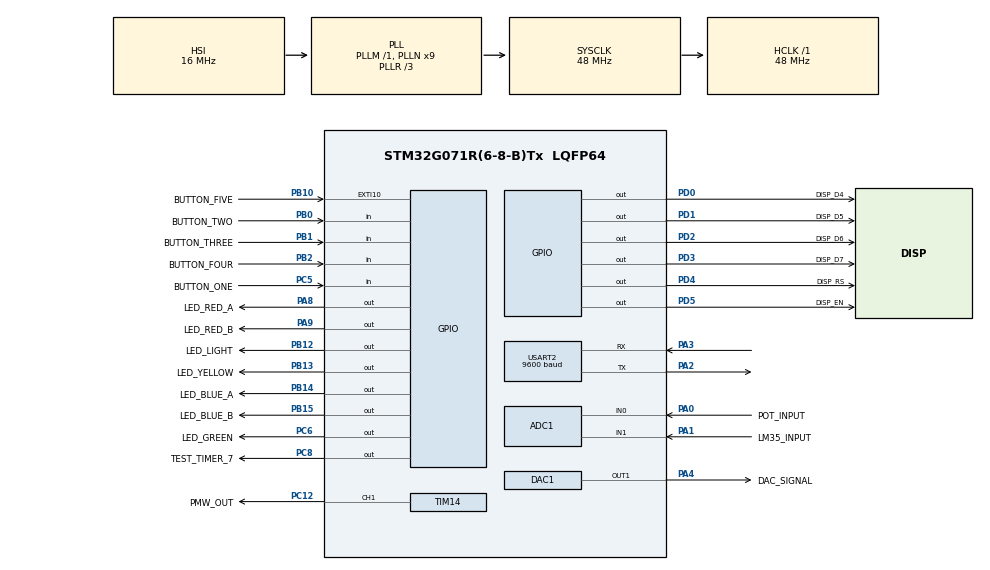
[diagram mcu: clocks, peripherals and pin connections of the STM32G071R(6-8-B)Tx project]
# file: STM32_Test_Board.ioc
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ADC1.Channel-0\#ChannelRegularConversion=ADC_CHANNEL_0
ADC1.Channel-1\#ChannelRegularConversion=ADC_CHANNEL_1
ADC1.ContinuousConvMode=ENABLE
ADC1.NbrOfConversion=2
ADC1.NbrOfConversionFlag=1
ADC1.Rank-0\#ChannelRegularConversion=1
ADC1.Rank-1\#ChannelRegularConversion=2
ADC1.SamplingTime-0\#ChannelRegularConversion=ADC_SAMPLINGTIME_COMMON_1
ADC1.SamplingTime-1\#ChannelRegularConversion=ADC_SAMPLINGTIME_COMMON_1
ADC1.SamplingTimeCommon1=ADC_SAMPLETIME_160CYCLES_5
ADC1.SamplingTimeCommon2=ADC_SAMPLETIME_160CYCLES_5
ADC1.SelectedChannel=ADC_CHANNEL_0|ADC_CHANNEL_1
ADC1.master=1
DAC1.DAC_Channel-DAC_OUT1=DAC_CHANNEL_1
DAC1.DAC_Trigger-DAC_OUT1=DAC_TRIGGER_T15_TRGO
Dma.DAC1_CH1.1.Direction=DMA_MEMORY_TO_PERIPH
Dma.DAC1_CH1.1.EventEnable=DISABLE
Dma.DAC1_CH1.1.Instance=DMA1_Channel1
Dma.DAC1_CH1.1.MemDataAlignment=DMA_MDATAALIGN_WORD
Dma.DAC1_CH1.1.MemInc=DMA_MINC_ENABLE
Dma.DAC1_CH1.1.Mode=DMA_CIRCULAR
Dma.DAC1_CH1.1.PeriphDataAlignment=DMA_PDATAALIGN_WORD
Dma.DAC1_CH1.1.PeriphInc=DMA_PINC_DISABLE
Dma.DAC1_CH1.1.Polarity=HAL_DMAMUX_REQ_GEN_RISING
Dma.DAC1_CH1.1.Priority=DMA_PRIORITY_LOW
Dma.DAC1_CH1.1.RequestNumber=1
Dma.DAC1_CH1.1.SignalID=NONE
Dma.DAC1_CH1.1.SyncEnable=DISABLE
Dma.DAC1_CH1.1.SyncPolarity=HAL_DMAMUX_SYNC_NO_EVENT
Dma.DAC1_CH1.1.SyncRequestNumber=1
Dma.DAC1_CH1.1.SyncSignalID=NONE
Dma.Request0=USART2_RX
Dma.Request1=DAC1_CH1
Dma.USART2_RX.0.Direction=DMA_PERIPH_TO_MEMORY
Dma.USART2_RX.0.EventEnable=DISABLE
Dma.USART2_RX.0.Instance=DMA1_Channel2
Dma.USART2_RX.0.MemDataAlignment=DMA_MDATAALIGN_BYTE
Dma.USART2_RX.0.MemInc=DMA_MINC_ENABLE
Dma.USART2_RX.0.Mode=DMA_NORMAL
Dma.USART2_RX.0.PeriphDataAlignment=DMA_PDATAALIGN_BYTE
Dma.USART2_RX.0.PeriphInc=DMA_PINC_DISABLE
Dma.USART2_RX.0.Polarity=HAL_DMAMUX_REQ_GEN_RISING
Dma.USART2_RX.0.Priority=DMA_PRIORITY_LOW
Dma.USART2_RX.0.RequestNumber=1
Dma.USART2_RX.0.SignalID=NONE
Dma.USART2_RX.0.SyncEnable=DISABLE
Dma.USART2_RX.0.SyncPolarity=HAL_DMAMUX_SYNC_NO_EVENT
Dma.USART2_RX.0.SyncRequestNumber=1
Dma.USART2_RX.0.SyncSignalID=NONE
Mcu.Family=STM32G0
Mcu.Name=STM32G071R(6-8-B)Tx
Mcu.Package=LQFP64
NVIC.DMA1_Channel1_IRQn=true\:0\:0\:false\:false\:true\:false\:true\:true
NVIC.DMA1_Channel2_3_IRQn=true\:0\:0\:false\:false\:true\:false\:true\:true
NVIC.EXTI4_15_IRQn=true\:0\:0\:false\:false\:true\:true\:true\:true
NVIC.TIM15_IRQn=true\:0\:0\:false\:false\:true\:true\:true\:true
NVIC.TIM3_IRQn=true\:0\:0\:false\:false\:true\:true\:true\:true
NVIC.USART2_IRQn=true\:0\:0\:false\:false\:true\:true\:true\:true
PA0.GPIO_Label=POT_INPUT
PA0.Mode=IN0
PA0.Signal=ADC1_IN0
PA1.GPIO_Label=LM35_INPUT
PA1.Mode=IN1
PA1.Signal=ADC1_IN1
PA13.Mode=Serial_Wire
PA13.Signal=SYS_SWDIO
PA14-BOOT0.Mode=Serial_Wire
PA14-BOOT0.Signal=SYS_SWCLK
PA2.Mode=Asynchronous
PA2.Signal=USART2_TX
PA3.Mode=Asynchronous
PA3.Signal=USART2_RX
PA4.GPIO_Label=DAC_SIGNAL
PA4.Signal=COMP_DAC11_group
PA8.GPIO_Label=LED_RED_A
PA8.Signal=GPIO_Output
PA9.GPIO_Label=LED_RED_B
PA9.Signal=GPIO_Output
PB0.GPIO_Label=BUTTON_TWO
PB0.GPIO_PuPd=GPIO_PULLUP
PB0.Signal=GPIO_Input
PB1.GPIO_Label=BUTTON_THREE
PB1.GPIO_PuPd=GPIO_PULLUP
PB1.Signal=GPIO_Input
PB10.GPIO_Label=BUTTON_FIVE
PB10.GPIO_ModeDefaultEXTI=GPIO_MODE_IT_FALLING
PB10.Signal=GPXTI10
PB12.GPIO_Label=LED_LIGHT
PB12.Signal=GPIO_Output
PB13.GPIO_Label=LED_YELLOW
PB13.Signal=GPIO_Output
PB14.GPIO_Label=LED_BLUE_A
PB14.Signal=GPIO_Output
PB15.GPIO_Label=LED_BLUE_B
PB15.Signal=GPIO_Output
PB2.GPIO_Label=BUTTON_FOUR
PB2.GPIO_PuPd=GPIO_PULLUP
PB2.Signal=GPIO_Input
PC12.GPIO_Label=PMW_OUT
PC12.Signal=S_TIM14_CH1
PC5.GPIO_Label=BUTTON_ONE
PC5.GPIO_PuPd=GPIO_PULLUP
PC5.Signal=GPIO_Input
PC6.GPIO_Label=LED_GREEN
PC6.Signal=GPIO_Output
PC8.GPIO_Label=TEST_TIMER_7
PC8.Signal=GPIO_Output
PD0.GPIO_Label=DISP_D4
PD0.Signal=GPIO_Output
PD1.GPIO_Label=DISP_D5
PD1.Signal=GPIO_Output
PD2.GPIO_Label=DISP_D6
PD2.Signal=GPIO_Output
PD3.GPIO_Label=DISP_D7
PD3.Signal=GPIO_Output
PD4.GPIO_Label=DISP_RS
PD4.Signal=GPIO_Output
PD5.GPIO_Label=DISP_EN
PD5.Signal=GPIO_Output
ProjectManager.HeapSize=0x200
ProjectManager.StackSize=0x400
ProjectManager.TargetToolchain=STM32CubeIDE
RCC.ADCCLockSelection=RCC_ADCCLKSOURCE_PLLADC
RCC.ADCFreq_Value=72000000
RCC.AHBFreq_Value=48000000
RCC.CortexFreq_Value=48000000
RCC.EXTERNAL_CLOCK_VALUE=48000
RCC.HCLKFreq_Value=48000000
RCC.HSE_VALUE=8000000
RCC.HSI_VALUE=16000000
RCC.LSE_VALUE=32768
RCC.PLLN=9
RCC.PLLR=RCC_PLLR_DIV3
RCC.SYSCLKFreq_VALUE=48000000
RCC.SYSCLKSource=RCC_SYSCLKSOURCE_PLLCLK
RCC.VCOOutputFreq_Value=144000000
SH.COMP_DAC11_group.0=DAC1_OUT1,DAC_OUT1
SH.S_TIM14_CH1.0=TIM14_CH1,PWM Generation1 CH1
TIM14.Channel=TIM_CHANNEL_1
TIM14.Period=1000 - 1
TIM14.Prescaler=48 - 1
TIM14.Pulse=500
TIM15.Period=0
TIM15.Prescaler=48 -1
TIM15.TIM_MasterOutputTrigger=TIM_TRGO_UPDATE
TIM3.Period=1000 - 1
TIM3.Prescaler=64-1
TIM6.Period=5000-1
TIM6.Prescaler=6400-1
TIM7.AutoReloadPreload=TIM_AUTORELOAD_PRELOAD_ENABLE
TIM7.Period=65535
TIM7.Prescaler=64-1
USART2.BaudRate=9600
USART2.Mode=MODE_TX_RX
USART2.Parity=PARITY_NONE
USART2.VirtualMode-Asynchronous=VM_ASYNC
VP_SYS_VS_DBSignals.Mode=DisableDeadBatterySignals
VP_TIM14_VS_ClockSourceINT.Mode=Enable_Timer
VP_TIM15_VS_ClockSourceINT.Mode=Internal
VP_TIM3_VS_ClockSourceINT.Mode=Internal
VP_TIM6_VS_ClockSourceINT.Mode=Enable_Timer
VP_TIM7_VS_ClockSourceINT.Mode=Enable_Timer
board=custom

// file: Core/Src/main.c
/* USER CODE BEGIN Header */
/**
  ******************************************************************************
  * @file           : main.c
  * @brief          : Main program body
  ******************************************************************************
  * @attention
  *
  * Copyright (c) 2022 STMicroelectronics.
  * All rights reserved.
  *
  * This software is licensed under terms that can be found in the LICENSE file
  * in the root directory of this software component.
  * If no LICENSE file comes with this software, it is provided AS-IS.
  *
  ******************************************************************************
  */
/* USER CODE END Header */

/* USER CODE BEGIN Includes */
#include "../Inc/STM32_Test_Board/STM32_Test_Board.h"

/* USER CODE END Includes */

void SystemClock_Config(void);

/* USER CODE BEGIN 0 */

void HAL_TIM_PeriodElapsedCallback(TIM_HandleTypeDef *htim)
{
	if(htim->Instance == TIM3) // Timer for General Functions
	{
		if(STM32_Test_Board.Timer_Generico > 0) STM32_Test_Board.Timer_Generico --;
		if(STM32_Test_Board.GPIO_Input.Timers.Generic > 0) STM32_Test_Board.GPIO_Input.Timers.Generic--;
		if(STM32_Test_Board.GPIO_Input.Timers.Timer_Hold_Buttons > 0) STM32_Test_Board.GPIO_Input.Timers.Timer_Hold_Buttons--;
		if(STM32_Test_Board.ADC_Peripheral.Counter_Update > 0) STM32_Test_Board.ADC_Peripheral.Counter_Update--;
		else
		{
			STM32_Test_Board.ADC_Peripheral.Update = true;
			LED_RED_B_TOGGLE_STATE;
		}
		if(STM32_Test_Board.USART_Peripheral.Time_Transmit > 0) STM32_Test_Board.USART_Peripheral.Time_Transmit--;
		else
		{
			STM32_Test_Board.USART_Peripheral.Transmit_Enable = true;
		}
	}

	if(htim->Instance == TIM6) // Timer for General Functions
	{
		LED_GREEN_TOGGLE_STATE;
	}
}

void HAL_GPIO_EXTI_Falling_Callback(uint16_t GPIO_Pin)
{
	if(GPIO_Pin == GPIO_PIN_10)
	{
		LED_RED_A_TOGGLE_STATE;

		if(STM32_Test_Board.Show_Data == e_DAC_Signal)
		{
			STM32_Test_Board.DAC_Signal.Frequency = 4000;
			STM32_Test_Board.DAC_Signal.Update = true;
		}
	}
}

//void HAL_UART_RxCpltCallback(UART_HandleTypeDef *huart)
//{
//	HAL_UART_Receive_IT(&huart2, (uint8_t*)STM32_Test_Board.USART_Peripheral.Received_Data_Buffer_Main, USART_MAXIMUM_NUMBER_BITS_DATA_RECEIVE);
//	strcpy((char *)STM32_Test_Board.USART_Peripheral.Received_Data_Buffer, (char *)STM32_Test_Board.USART_Peripheral.Received_Data_Buffer_Main);
//	memset(STM32_Test_Board.USART_Peripheral.Received_Data_Buffer_Main,'\0', USART_MAXIMUM_NUMBER_BITS_DATA_RECEIVE);
//}

void HAL_UARTEx_RxEventCallback(UART_HandleTypeDef *huart, uint16_t Size)
{
	if(huart->Instance == USART2)
	{
		memcpy(STM32_Test_Board.USART_Peripheral.Received_Data_Buffer_Main, STM32_Test_Board.Screen.Buffer, USART_MAXIMUM_NUMBER_BITS_DATA_RECEIVE);

		HAL_UARTEx_ReceiveToIdle_DMA(&huart2, STM32_Test_Board.Screen.Buffer, USART_MAXIMUM_NUMBER_BITS_DATA_RECEIVE);

		__HAL_DMA_DISABLE_IT(&hdma_usart2_rx, DMA_IT_HT);

		STM32_Test_Board.USART_Peripheral.Clear = true;
	}
}

/* USER CODE END 0 */

int main(void)
{

  /* MCU Configuration--------------------------------------------------------*/

  /* Reset of all peripherals, Initializes the Flash interface and the Systick. */
  HAL_Init();

  /* Configure the system clock */
  SystemClock_Config();

  /* Initialize all configured peripherals */
  MX_GPIO_Init();
  MX_TIM3_Init();
  MX_TIM6_Init();
  MX_TIM7_Init();
  MX_DMA_Init();
  MX_USART2_UART_Init();
  MX_ADC1_Init();
  MX_TIM14_Init();
  MX_DAC1_Init();
  MX_TIM15_Init();
  /* USER CODE BEGIN 2 */

  //ADC_Peripheral_Init();

  /* USER CODE END 2 */

  /* Infinite loop */
  /* USER CODE BEGIN WHILE */
  while (true)
  {
    /* USER CODE END WHILE */

    /* USER CODE BEGIN 3 */
	  STM32_Test_Board_Main();

  }
  /* USER CODE END 3 */
}

void SystemClock_Config(void)
{
  RCC_OscInitTypeDef RCC_OscInitStruct = {0};
  RCC_ClkInitTypeDef RCC_ClkInitStruct = {0};

  /** Configure the main internal regulator output voltage
  */
  HAL_PWREx_ControlVoltageScaling(PWR_REGULATOR_VOLTAGE_SCALE1);
  /** Initializes the RCC Oscillators according to the specified parameters
  * in the RCC_OscInitTypeDef structure.
  */
  RCC_OscInitStruct.OscillatorType = RCC_OSCILLATORTYPE_HSI;
  RCC_OscInitStruct.HSIState = RCC_HSI_ON;
  RCC_OscInitStruct.HSIDiv = RCC_HSI_DIV1;
  RCC_OscInitStruct.HSICalibrationValue = RCC_HSICALIBRATION_DEFAULT;
  RCC_OscInitStruct.PLL.PLLState = RCC_PLL_ON;
  RCC_OscInitStruct.PLL.PLLSource = RCC_PLLSOURCE_HSI;
  RCC_OscInitStruct.PLL.PLLM = RCC_PLLM_DIV1;
  RCC_OscInitStruct.PLL.PLLN = 9;
  RCC_OscInitStruct.PLL.PLLP = RCC_PLLP_DIV2;
  RCC_OscInitStruct.PLL.PLLQ = RCC_PLLQ_DIV2;
  RCC_OscInitStruct.PLL.PLLR = RCC_PLLR_DIV3;
  if (HAL_RCC_OscConfig(&RCC_OscInitStruct) != HAL_OK)
  {
    Error_Handler();
  }
  /** Initializes the CPU, AHB and APB buses clocks
  */
  RCC_ClkInitStruct.ClockType = RCC_CLOCKTYPE_HCLK|RCC_CLOCKTYPE_SYSCLK
                              |RCC_CLOCKTYPE_PCLK1;
  RCC_ClkInitStruct.SYSCLKSource = RCC_SYSCLKSOURCE_PLLCLK;
  RCC_ClkInitStruct.AHBCLKDivider = RCC_SYSCLK_DIV1;
  RCC_ClkInitStruct.APB1CLKDivider = RCC_HCLK_DIV1;

  if (HAL_RCC_ClockConfig(&RCC_ClkInitStruct, FLASH_LATENCY_1) != HAL_OK)
  {
    Error_Handler();
  }
}

void Error_Handler(void)
{
  __disable_irq();
  while (1)
  {
  }
}
